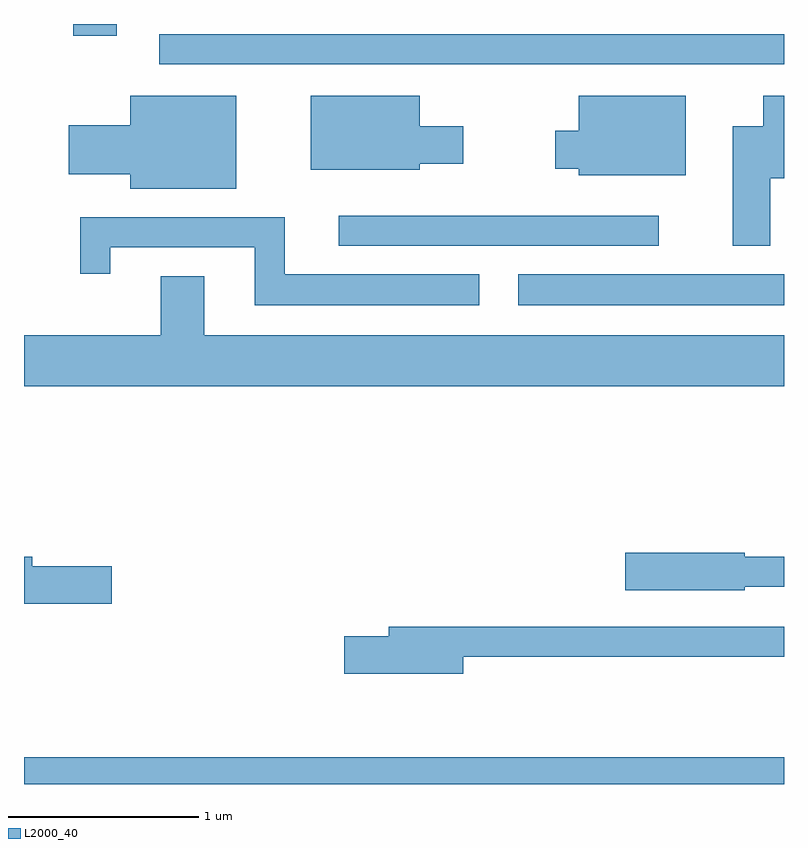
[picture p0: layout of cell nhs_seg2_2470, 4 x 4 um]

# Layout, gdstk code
import gdstk
lib = gdstk.Library(unit=1e-6, precision=1e-09)
def R(c, l, rs):  # rectangles x0, y0, x1, y1
    for r in rs: c.add(gdstk.rectangle(r[:2], r[2:], *l))
def P(c, l, *ps):  # polygons
    for p in ps: c.add(gdstk.Polygon(p, *l))
L2000_40 = (2000, 40)

nhs_seg2_2470 = lib.new_cell('nhs_seg2_2470')
R(nhs_seg2_2470, L2000_40, [(257.611,1021.802,261.611,1021.944), (260.212,1024.321,261.611,1024.484), (259.267,1024.636,260.953,1024.794), (258.323,1025.591,261.611,1025.749), (257.871,1025.741,258.099,1025.802)])
P(nhs_seg2_2470, L2000_40, [(261.539,1024.991),(261.611,1024.991),(261.611,1025.424),(261.501,1025.424),(261.501,1025.264),(261.341,1025.264),(261.341,1024.636),(261.539,1024.636)],
  [(259.694,1025.066),(259.924,1025.066),(259.924,1025.264),(259.694,1025.264),(259.694,1025.424),(259.121,1025.424),(259.121,1025.036),(259.694,1025.036)],
  [(261.094,1025.424),(260.531,1025.424),(260.531,1025.239),(260.406,1025.239),(260.406,1025.041),(260.531,1025.041),(260.531,1025.006),(261.094,1025.006)],
  [(258.729,1025.424),(258.171,1025.424),(258.171,1025.269),(257.846,1025.269),(257.846,1025.011),(258.171,1025.011),(258.171,1024.936),(258.729,1024.936)],
  [(260.008,1024.484),(258.984,1024.484),(258.984,1024.784),(257.906,1024.784),(257.906,1024.488),(258.064,1024.488),(258.064,1024.626),(258.826,1024.626),(258.826,1024.321),(260.008,1024.321)],
  [(261.611,1024.164),(258.559,1024.164),(258.559,1024.474),(258.331,1024.474),(258.331,1024.164),(257.611,1024.164),(257.611,1023.896),(261.611,1023.896)],
  [(261.404,1022.841),(261.611,1022.841),(261.611,1022.999),(261.404,1022.999),(261.404,1023.019),(260.776,1023.019),(260.776,1022.821),(261.404,1022.821)],
  [(258.074,1022.949),(257.654,1022.949),(257.654,1022.999),(257.611,1022.999),(257.611,1022.751),(258.074,1022.751)],
  [(259.924,1022.471),(261.611,1022.471),(261.611,1022.629),(259.531,1022.629),(259.531,1022.579),(259.296,1022.579),(259.296,1022.381),(259.924,1022.381)])

lib.write_gds('nhs_seg2_2470.gds')
